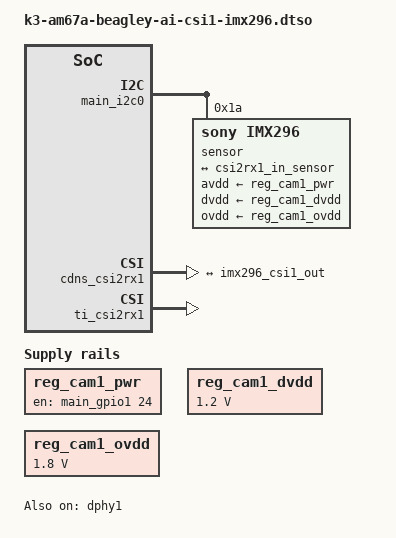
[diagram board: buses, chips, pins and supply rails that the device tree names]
// SPDX-License-Identifier: GPL-2.0
/*
 * BeagleY-AI, CSI1 22-pin connector: Sony IMX296
 * (Raspberry Pi Global Shutter Camera and compatible modules)
 *
 * The second camera connector.  Its I2C bus is main_i2c0, shared with the
 * DSI0 connector - the base DTB carries the symbol "dsi0_csi1_i2c" for it -
 * and it is already enabled by default (400 kHz, pinctrl set), so this
 * overlay leaves the bus node itself alone.
 *
 * SoC side: CSI2RX1 (ticsi2rx@30122000 / csi-bridge@30121000) with D-PHY1
 * (phy@30130000).  That pairing is fixed inside the SoC's own device tree
 * (ticsi2rx@30122000 has phys = <&dphy1>), so there is nothing to guess.
 *
 * Module power enable - measured, not guessed:
 *   The base DTB defines the pin group csi1_gpio_pins_default (main padconf
 *   offset 0x1d8) but NOTHING in the vendor tree references it, so on a stock
 *   boot that pad is never muxed to GPIO and a module on CSI1 is dead.  The
 *   pin is main_gpio1 line 24.  Driving it high from userspace (after muxing
 *   the pad by hand) makes the sensor answer at 0x1a on /dev/i2c-3; driving
 *   it low makes the bus go silent.  So: high = module powered, like the
 *   Raspberry Pi's CAM_GPIO.
 *
 *   The driver's "reset" GPIO cannot express this: imx296_power_on() drives
 *   reset to logic 0 (imx296.c:262), which with GPIO_ACTIVE_HIGH would switch
 *   the module OFF.  As on CSI0, the pin is therefore owned by a fixed
 *   regulator instead, which asserts it for the whole time the driver holds
 *   the supplies on, and gives the module a 500 ms ramp before the first I2C
 *   access.  No reset-gpios property.
 *
 *  - avdd is that regulator; dvdd/ovdd are generated on the camera module
 *    itself, so they are dummies (the voltage values below are nominal).
 *  - "inck" is a fixed-clock, as on CSI0: the 22-pin connector has no MCLK,
 *    so the module carries its own oscillator.  54 MHz is one of the three
 *    rates the driver accepts (37.125 / 54 / 74.25 MHz).
 *  - One data lane at a 594 MHz link (1188 Mbps per lane is hardwired in the
 *    driver) with a non-continuous clock lane, as on Raspberry Pi.
 */

/dts-v1/;
/plugin/;

&{/} {
	clk_imx296_csi1: clock-imx296-csi1 {
		compatible = "fixed-clock";
		#clock-cells = <0>;
		clock-frequency = <54000000>;
	};

	/* Module power: main_gpio1 line 24 (pad 0xf41d8) -> 22-pin pin 11. */
	reg_cam1_pwr: regulator-cam1-pwr {
		compatible = "regulator-fixed";
		regulator-name = "cam1-pwr-en";
		pinctrl-names = "default";
		pinctrl-0 = <&csi1_gpio_pins_default>;
		gpio = <&main_gpio1 24 0>;	/* 0 = GPIO_ACTIVE_HIGH */
		enable-active-high;

		/*
		 * Measured, not guessed.  With 500 ms the driver's probe failed
		 * on every boot with
		 *   imx296 3-001a: failed to read sensor information (-110)
		 * The CTRL00 write still got through (so the module was powered)
		 * and the SENSOR_INFO read is what timed out.  Holding the pin
		 * high from userspace and re-probing showed the sensor answers
		 * as soon as it has had ~1.5 s of power:
		 *   imx296 3-001a: found IMX296LQ (35.9C)
		 * 2 s is that with margin, and is only paid on a real 0 -> 1
		 * enable: regulator_enable() on an already-enabled regulator is
		 * a refcount bump and does not sleep.
		 */
		startup-delay-us = <2000000>;

		/*
		 * Keep the pin high for as long as the board is on.  The driver
		 * autosuspends one second after streaming stops and disables its
		 * supplies, so without this every capture start would pay the
		 * delay above again.  With always_on the regulator core never
		 * runs the hardware disable - _regulator_disable()'s last-user
		 * branch also requires !always_on - so the pin stays high and the
		 * module is powered from early boot.  That is exactly the
		 * situation on a Raspberry Pi, where the module is powered from
		 * boot and the driver's own 2-5 ms standby-release timing is
		 * therefore enough.
		 */
		regulator-always-on;
	};
	/* No vin-supply: which rail this pin switches on CSI1 is not
	 * documented in the vendor tree, and the regulator works without it. */

	/*
	 * Rails generated on the camera module.  They exist only to satisfy
	 * the driver's mandatory regulator_bulk_get(avdd, dvdd, ovdd).
	 */
	reg_cam1_dvdd: regulator-cam1-dvdd {
		compatible = "regulator-fixed";
		regulator-name = "cam1-dvdd";
		regulator-min-microvolt = <1200000>;
		regulator-max-microvolt = <1200000>;
		regulator-always-on;
	};

	reg_cam1_ovdd: regulator-cam1-ovdd {
		compatible = "regulator-fixed";
		regulator-name = "cam1-ovdd";
		regulator-min-microvolt = <1800000>;
		regulator-max-microvolt = <1800000>;
		regulator-always-on;
	};
};

&main_i2c0 {
	#address-cells = <1>;
	#size-cells = <0>;

	sensor@1a {
		compatible = "sony,imx296";
		reg = <0x1a>;

		clocks = <&clk_imx296_csi1>;
		clock-names = "inck";

		avdd-supply = <&reg_cam1_pwr>;
		dvdd-supply = <&reg_cam1_dvdd>;
		ovdd-supply = <&reg_cam1_ovdd>;

		port {
			imx296_csi1_out: endpoint {
				remote-endpoint = <&csi2rx1_in_sensor>;
				link-frequencies = /bits/ 64 <594000000>;
				clock-lanes = <0>;
				data-lanes = <1>;
				clock-noncontinuous;
			};
		};
	};
};

&cdns_csi2rx1 {
	/*
	 * Interrupts, corrected.  The vendor tree gives this node the two
	 * main_i2c0/main_i2c1 interrupts (SPI 161/162 = GIC 193/194), which
	 * cannot work - both controllers already own them - and at boot the
	 * bridge is refused:
	 *
	 *   genirq: Flags mismatch irq 73. 00000004 (30121000.csi-bridge)
	 *                                    vs. 00006004 (20000000.i2c)
	 *   cdns-csi2rx 30121000.csi-bridge: Unable to request interrupt: -16
	 *
	 * TI's own tree (ti-linux-6.12.y) and mainline both give CSI2RX1
	 * SPI 146/147 under these same names, and no other node in this tree
	 * claims either number.  The vendor tree mis-assigns interrupts on
	 * several of the CSI bridges (SPI 156 really is MCAN0's int1, 232 is
	 * a USB controller's), so this is a per-node bug, not a naming
	 * convention we are misreading.
	 */
	interrupts = <0 146 4>, <0 147 4>;

	ports {
		#address-cells = <1>;
		#size-cells = <0>;

		port@0 {
			reg = <0>;
			status = "okay";

			csi2rx1_in_sensor: endpoint {
				remote-endpoint = <&imx296_csi1_out>;
				bus-type = <4>;		/* MIPI CSI-2 D-PHY */
				clock-lanes = <0>;
				data-lanes = <1>;
				clock-noncontinuous;
			};
		};
	};
};

&ti_csi2rx1 {
	status = "okay";
};

&dphy1 {
	status = "okay";
};

/*
 * The CSI1 connector's MIPI lanes are shared with the DSI0 connector through
 * an on-board switch, and the vendor tree's "mipi-switch" gpio-leds node
 * drives it to its OFF state at every boot:
 *
 *   state = SEL + 2*OE :  0 = DSI0, 1 = CSI1, 2/3 = lanes disconnected
 *
 *   oe-pin  = main_gpio0 line 1, default-state "on"  -> OE = 1  |
 *   sel-pin = main_gpio0 line 2, default-state "off" -> SEL = 0 |  = state 2
 *
 * (mainline's k3-am67a-beagley-ai.dts defines the same pins as a "gpio-mux"
 * with idle-state = <2>, and its CSI1 imx219 overlay sets idle-state = <1>;
 * this kernel has no gpio-mux driver, so the LED node is what we get to use.)
 *
 * Everything else on the connector - I2C0, power - is NOT behind the switch,
 * which is why probing and streaming all looked healthy while no pixel data
 * ever reached the SoC.  Measured: flipping the two LEDs to OE=0/SEL=1 makes
 * frames arrive.  Flip the defaults so the switch sits on the camera from
 * early boot.
 */
&{/mipi-switch} {
	oe-pin {
		default-state = "off";		/* OE = 0: switch outputs on */
	};

	sel-pin {
		default-state = "on";		/* SEL = 1: connector -> CSI1 */
	};
};
